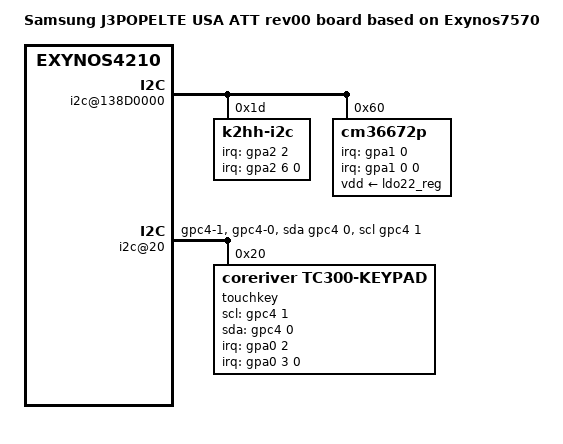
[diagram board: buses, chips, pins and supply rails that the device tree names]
/*
 * SAMSUNG UNIVERSAL7570 board device tree source
 *
 * Copyright (c) 2013 Samsung Electronics Co., Ltd.
 *		http://www.samsung.com
 *
 * This program is free software; you can redistribute it and/or modify
 * it under the terms of the GNU General Public License version 2 as
 * published by the Free Software Foundation.
*/

/dts-v1/;
#include "exynos7570-rmem.dtsi"
#include "exynos7570-j3pope_common.dtsi"
#include "modem-ss305ap-pdata.dtsi"
#include "exynos7570-j3popelte_battery.dtsi"
#include "exynos7570-j3popelte_usa_att_gpio_00.dtsi"

/ {
	model = "Samsung J3POPELTE USA ATT rev00 board based on Exynos7570";
        model_info-chip = <7570>;
        model_info-platform = "android";
        model_info-subtype = "samsung";
        model_info-hw_rev = <0>;
        model_info-hw_rev_end = <0>;
	compatible = "samsung,exynos7570", "samsung,exynos4210";

	pinctrl@139B0000 {
		fm_lna_en: fm-lna-en {
			samsung,pins = "gpd1-0";
			samsung,pin-function = <1>;
			samsung,pin-pud = <0>;
			samsung,pin-val = <0>;
		};
	};

	fm_gpio: fm@14840000 {
		elna_gpio = <&gpd1 0 0x1>; /* FM_LNA_EN */
		pinctrl-names = "default";
		pinctrl-0 = <&fm_lna_en>;
		fm_iclk_aux = <0>;
		fm_tc_on = <0>;
		status = "okay";
	};

	i2c@138D0000 {
		samsung,i2c-sda-delay = <100>;
		samsung,i2c-max-bus-freq = <400000>;
		status = "okay";
		#address-cells = <1>;
		#size-cells = <0>;
		pinctrl-names = "default";

		k2hh-i2c@1D {
			compatible = "k2hh-i2c";
			reg = <0x1D>;
			pinctrl-names = "default";
			pinctrl-0 = <&acc_int>;
			interrupt-parent = <&gpa2>;
			interrupts = <6 0 0>;
			k2hh,irq_gpio = <&gpa2 2 0>;
			k2hh,axis_map_x = <0>;
			k2hh,axis_map_y = <1>;
			k2hh,axis_map_z = <2>;
			k2hh,negate_x = <1>;
			k2hh,negate_y = <1>;
			k2hh,negate_z = <1>;
			k2hh,poll_interval = <100>;
			k2hh,min_interval = <2>;
		};

		cm36672p@60 {
			compatible = "cm36672p";
			reg = <0x60>;
			pinctrl-names = "default";
			pinctrl-0 = <&prox_int>;
			interrupt-parent = <&gpa1>;
			interrupts = <0 0 0>;
			cm36672p,irq_gpio = <&gpa1 0 0>;
			cm36672p,vdd-supply = <&ldo22_reg>;
			cm36672p,vdd_always_on = <1>;
			cm36672p,regulator_divided = <1>;
			cm36672p,default_hi_thd = <17>;
			cm36672p,default_low_thd = <12>;
			cm36672p,cancel_hi_thd = <10>;
			cm36672p,cancel_low_thd = <7>;
			cm36672p,offset_range_hi = <21>;
			cm36672p,offset_range_low = <11>;
			cm36672p,default_trim = <0>;
			cm36672p,ps_duty = <2>;
			cm36672p,ps_pers = <2>;
			cm36672p,ps_it = <5>;
			cm36672p,led_current = <5>;
			cm36672p,ps_smart_pers = <1>;
		};
	};

	pinctrl@139F0000 {
		acc_int: acc_int {
			samsung,pins = "gpa2-2";
			samsung,pin-function = <0>;
			samsung,pin-pud = <0>;
			samsung,pin-drv = <0>;
		};

		prox_int: prox_int {
			samsung,pins = "gpa1-0";
			samsung,pin-function = <0x0>;
			samsung,pin-pud = <0>;
			samsung,pin-drv = <0>;
		};
	};

	pinctrl@139F0000 {
		tkey_irq: tkey-irq {
			samsung,pins = "gpa0-2";
			samsung,pin-function = <0xf>;
			samsung,pin-pud = <0>;
			samsung,pin-drv = <0>;
		};
		tkey_input: tkey-input {
			samsung,pins = "gpa0-2";
			samsung,pin-function = <0>;
			samsung,pin-pud = <0>;
			samsung,pin-drv = <0>;
		};
	};

	pinctrl@139B0000 {
		cfg_i2c: cfg-i2c {
			samsung,pins = "gpc4-1", "gpc4-0";
			samsung,pin-function = <2>;
			samsung,pin-pud = <0>;
			samsung,pin-drv = <0>;
		};
		cfg_gpio: cfg-gpio {
			samsung,pins = "gpc4-1", "gpc4-0";
			samsung,pin-function = <0>;
			samsung,pin-pud = <0>;
			samsung,pin-drv = <0>;
		};
	};

	i2c@20 {
		compatible = "i2c-gpio";
		gpios = <&gpc4 0 0
				&gpc4 1 0>;
		i2c-gpio,delay-us = <5>;
		pinctrl-names = "default","on_i2c","off_i2c";
		pinctrl-0 = <&cfg_i2c>;
		pinctrl-1 = <&cfg_i2c>;
		pinctrl-2 = <&cfg_gpio>;
		#address-cells = <1>;
		#size-cells = <0>;
		status = "okay";

		touchkey@20 {
			pinctrl-names = "on_irq","off_irq";
			pinctrl-0 = <&tkey_irq>;
			pinctrl-1 = <&tkey_input>;
			compatible = "coreriver,tc300-keypad";
			reg = <0x20>;
			interrupts = <3 0 0>;
			interrupt-parent = <&gpa0>;
			coreriver,scl-gpio = <&gpc4 1 0>;
			coreriver,sda-gpio = <&gpc4 0 0>;
			coreriver,irq-gpio = <&gpa0 2 0>;
			coreriver,i2c-gpio = "true";
			coreriver,boot-on-ldo = "true";
			coreriver,regulator_ic = "vtouch_2.2v";
			coreriver,fw_name = "coreriver/tc350k_j3pop.fw";
			coreriver,sensing_ch_num = <0x4>;
			coreriver,tsk_ic_num = <0x1>; /* tc300k : 0x00, tc350k : 0x01 */
			coreriver,use_bitmap = <1>;
		};
	};

	/* modem_interface */
	mif_pdata {
		pinctrl-0 = <&cp_gpio_on5 &cp_gpio_j3pop_old>;
	};

	speedy@10510000 {
		status = "okay";

		fimc_is_flash@06 {
			compatible = "samsung,sensor-flash-i2c";
			reg = <0x06>;
			id = <0>;
			flash-gpio = <&gpa0 0 0>;
			flash_current = <0>;
			preflash_current = <160>;
			movie_current = <160>;
			torch_current = <80>;
			factory_current = <160>;
			i2c-speedy-address;
		};
	};
};
